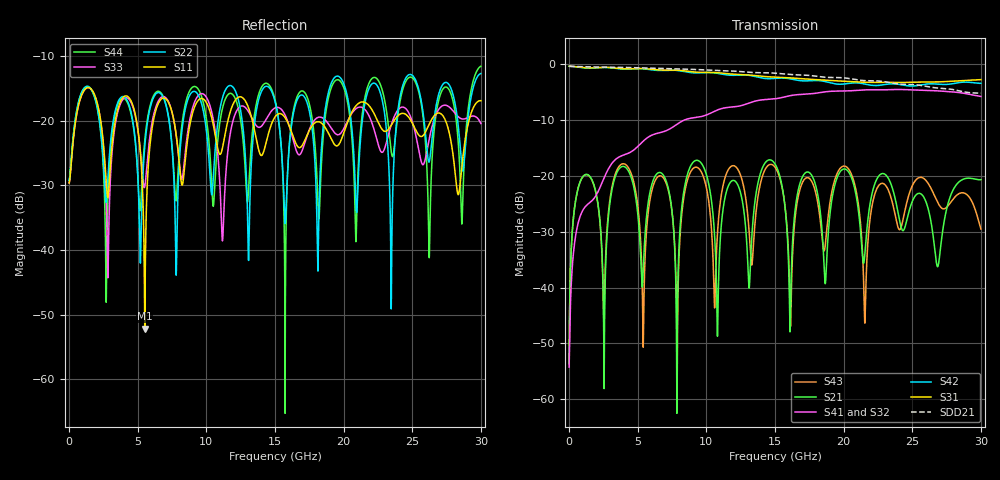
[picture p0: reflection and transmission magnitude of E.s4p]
!diffpair-meanders E (U-bend, pair-level raised-cosine excursion (control)), mesh medium
!ports 1 P_near 2 N_near 3 P_far 4 N_far; openEMS FDTD, lumped 50 ohm ports
# Hz S RI R 50.0
! Port[1] = P_near
! Port[2] = N_near
! Port[3] = P_far
! Port[4] = N_far
!freq ReS11 ImS11 ReS12 ImS12 ReS13 ImS13
! ReS14 ImS14
! ReS21 ImS21 ReS22 ImS22 ReS23 ImS23
! ReS24 ImS24
! ReS31 ImS31 ReS32 ImS32 ReS33 ImS33
! ReS34 ImS34
! ReS41 ImS41 ReS42 ImS42 ReS43 ImS43
! ReS44 ImS44
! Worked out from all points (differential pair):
!   3000 points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, 10 MHz to 30 GHz, reference 50 ohm
!   strongest paths, dB at 10 MHz, 7.51 GHz, 15.01 GHz, 22.51 GHz, 30 GHz:
!     S31: -0.4, -1.1, -2.4, -3.3, -2.8
!     S42: -0.4, -1.1, -2.6, -3.8, -3.5
!     S41: -54.2, -11.4, -6.2, -4.6, -5.8
!     S32: -54.2, -11.4, -6.3, -4.6, -5.5
!     S21: -53.6, -26.5, -17.9, -20.2, -20.7
!     S43: -53.6, -26.6, -18.5, -21.9, -29.5
!   taken as a pair (ports 1,2 in; 3,4 out), SDD21 dB: -0.4, -0.9, -1.6, -3.0, -5.2
!   lowest |S11| = -52.2 dB at 5.52 GHz (marker M1), VSWR 1.00, Z = 49.8 - j0.0146 ohm
!   |S11| at or under -10 dB: start of sweep to end of sweep
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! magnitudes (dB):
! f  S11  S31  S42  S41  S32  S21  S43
! 10 MHz  -29.6  -0.4  -0.4  -54.2  -54.2  -53.6  -53.6
! 1.14 GHz  -15.2  -0.7  -0.7  -25.7  -25.7  -19.9  -19.9
! 5.52 GHz  -52.2  -0.8  -0.9  -13.6  -13.6  -31.3  -36.1
! 6.81 GHz  -16.6  -1.1  -1.2  -12.2  -12.2  -19.7  -20.2
! 7.85 GHz  -22.9  -1.1  -1.2  -10.8  -10.8  -59.6  -48.1
! 15.74 GHz  -19.6  -2.4  -2.5  -5.9  -5.9  -25.7  -25.6
! 30 GHz  -16.9  -2.8  -3.5  -5.8  -5.5  -20.7  -29.5
